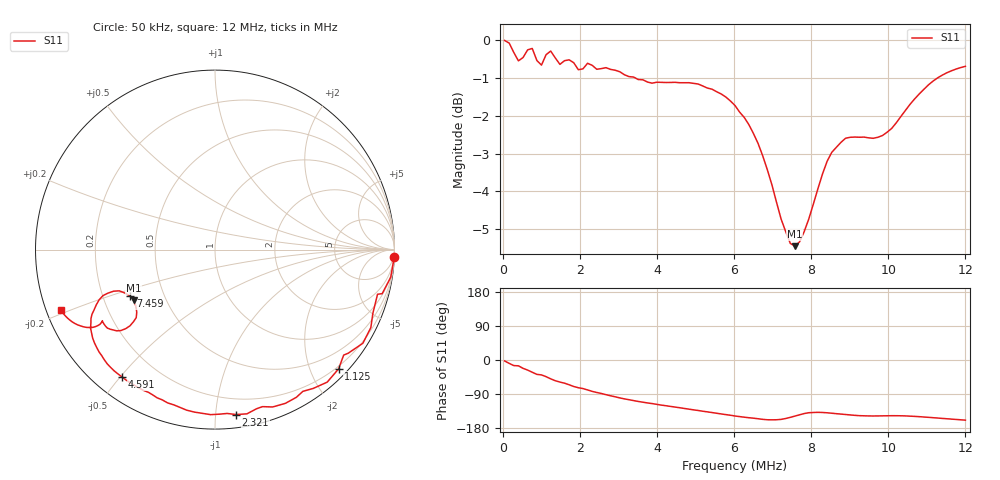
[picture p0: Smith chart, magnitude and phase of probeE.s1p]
# Hz S RI R 50
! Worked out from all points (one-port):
!   101 points, 50 kHz to 12 MHz, reference 50 ohm
!   lowest |S11| = -5.4 dB at 7.579 MHz (marker M1), VSWR 3.29, Z = 16.3 - j12.9 ohm
!   |S11| at or under -10 dB: nowhere
!   S11 on the Smith chart (normalised r, x): 50 kHz: 1, -46; 1.125 MHz: 0.16, -2.47; 2.321 MHz: 0.09, -1.13; 4.591 MHz: 0.08, -0.51; 7.459 MHz: 0.32, -0.23; 12 MHz: 0.04, -0.19
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50000  0.9983 -0.0435
289000  0.9314 -0.2456
408500  0.9057 -0.2486
767000  0.824 -0.5217
886500  0.7417 -0.5776
1006000  0.7169 -0.5878
1125500  0.6888 -0.6643
1245000  0.6253 -0.7383
1603500  0.4534 -0.8229
1842500  0.3212 -0.8768
2320500  0.1171 -0.9191
3037500  -0.1579 -0.8946
3515500  -0.2947 -0.8368
4591000  -0.5159 -0.7112
5188500  -0.6172 -0.6131
6025000  -0.6933 -0.4374
6383500  -0.685 -0.3593
6861500  -0.6241 -0.2563
7220000  -0.5329 -0.2298
7459000  -0.4728 -0.2584
7578500  -0.4532 -0.2829
7937000  -0.4389 -0.3792
8295500  -0.4987 -0.4411
9012500  -0.6094 -0.4271
9610000  -0.6272 -0.3962
1.0088e7  -0.6411 -0.4164
1.0566e7  -0.6991 -0.434
1.2e7  -0.8605 -0.3356
